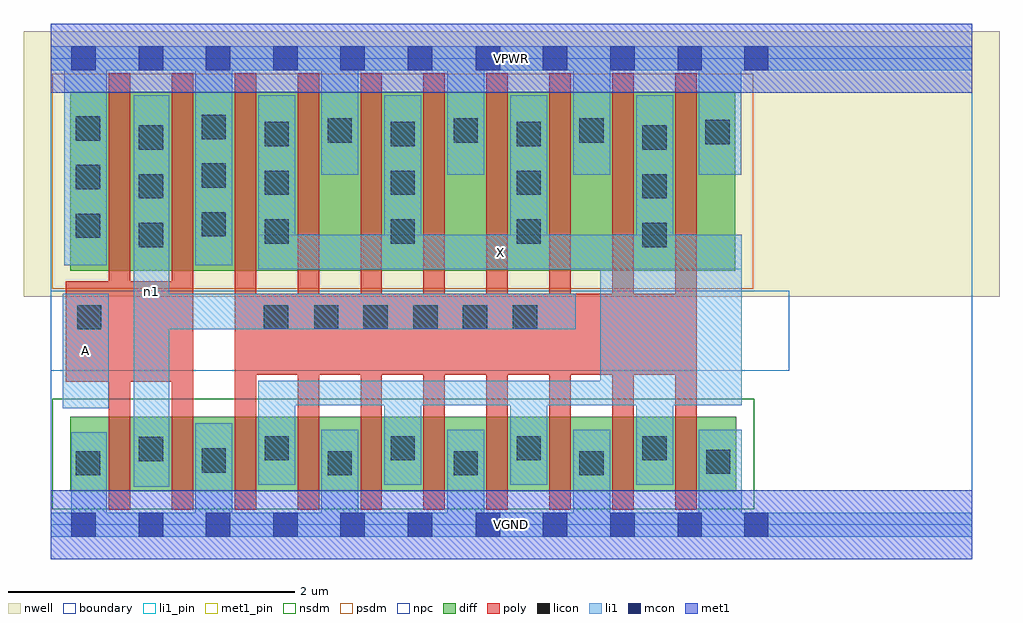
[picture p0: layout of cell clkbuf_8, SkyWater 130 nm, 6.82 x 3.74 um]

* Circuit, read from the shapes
.subckt clkbuf_8 A VGND VPWR X n1
XM1 n1 A VGND VSUBS sky130_fd_pr__nfet_01v8 w=0.52 l=0.15 m=2
XM2 X n1 VGND VSUBS sky130_fd_pr__nfet_01v8 w=0.52 l=0.15 m=8
XM3 n1 A VPWR n2 sky130_fd_pr__pfet_01v8 w=1.25 l=0.15 m=2
XM4 X n1 VPWR n2 sky130_fd_pr__pfet_01v8 w=1.25 l=0.15 m=8
.ends

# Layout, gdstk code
import gdstk
lib = gdstk.Library(unit=1e-6, precision=1e-09)
def R(c, l, rs):  # rectangles x0, y0, x1, y1
    for r in rs: c.add(gdstk.rectangle(r[:2], r[2:], *l))
def A(c, l, x, y, w, h, nx, ny, dx, dy):  # array of equal rectangles
    R(c, l, [(x+i*dx, y+j*dy, x+i*dx+w, y+j*dy+h) for i in range(nx) for j in range(ny)])
nwell = (64, 20)
diff = (65, 20)
poly = (66, 20)
licon = (66, 44)
li1_pin = (67, 16)
li1 = (67, 20)
mcon = (67, 44)
met1_pin = (68, 16)
met1 = (68, 20)
nsdm = (93, 44)
psdm = (94, 20)
npc = (95, 20)
boundary = (235, 4)

clkbuf_8 = lib.new_cell('clkbuf_8')
R(clkbuf_8, nwell, [(-0.19,1.595,6.63,3.45), (0,1.595,6.44,3.45)])
R(clkbuf_8, diff, [(0.135,0.235,4.79,0.755), (0.135,1.775,4.785,3.025)])
A(clkbuf_8, poly, 0.405, 0.105, 0.15, 3.05, 10, 1, 0.44, 0)
R(clkbuf_8, poly, [(0.105,1,0.995,1.7), (1.285,1.05,4.515,1.615)])
A(clkbuf_8, licon, 1.935, 0.345, 0.17, 0.17, 3, 2, 0.88, 2.325)
A(clkbuf_8, licon, 1.495, 0.45, 0.17, 0.17, 4, 1, 0.88, 0)
A(clkbuf_8, licon, 0.615, 1.94, 0.17, 0.17, 1, 3, 0, 0.34)
A(clkbuf_8, licon, 4.135, 1.94, 0.17, 0.17, 1, 3, 0, 0.34)
A(clkbuf_8, licon, 1.495, 1.965, 0.17, 0.17, 3, 3, 0.88, 0.34)
A(clkbuf_8, licon, 0.175, 2.005, 0.17, 0.17, 1, 3, 0, 0.34)
A(clkbuf_8, licon, 1.055, 2.015, 0.17, 0.17, 1, 3, 0, 0.34)
R(clkbuf_8, licon, [(0.175,0.345,0.345,0.515), (4.58,0.355,4.75,0.525), (1.055,0.365,1.225,0.535), (0.615,0.445,0.785,0.615), (0.185,1.365,0.355,1.535), (1.49,1.365,1.66,1.535), (1.84,1.365,2.01,1.535), (2.185,1.365,2.355,1.535), (2.535,1.365,2.705,1.535), (2.88,1.365,3.05,1.535), (3.23,1.365,3.4,1.535), (4.575,2.66,4.745,2.83)])
R(clkbuf_8, li1_pin, [(0.085,0.815,0.405,1.615), (1.45,1.785,4.83,2.025)])
A(clkbuf_8, li1, 1.89, -0.085, 0.26, 0.75, 3, 1, 0.88, 0)
A(clkbuf_8, li1, 1.45, 0.28, 0.26, 0.725, 3, 1, 0.88, 0)
A(clkbuf_8, li1, 1.45, 1.785, 0.26, 1.215, 3, 1, 0.88, 0)
A(clkbuf_8, li1, 1.89, 2.445, 0.26, 0.9, 3, 1, 0.88, 0)
R(clkbuf_8, li1, [(0,-0.085,6.44,0.085), (0.145,-0.085,0.39,0.645), (1.01,-0.085,1.27,0.71), (4.53,-0.085,4.83,0.665), (0.58,0.265,0.83,3), (4.09,0.28,4.35,3), (0.085,0.815,0.405,1.615), (1.45,0.835,4.83,1.005), (3.84,0.835,4.83,2.025), (0.58,1.365,3.67,1.615), (1.45,1.785,4.83,2.025), (0.095,1.815,0.39,3.345), (1.01,1.815,1.27,3.345), (4.53,2.445,4.825,3.345), (0,3.175,6.44,3.345)])
A(clkbuf_8, mcon, 0.145, -0.085, 0.17, 0.17, 6, 2, 0.47, 3.26)
A(clkbuf_8, mcon, 2.97, -0.085, 0.17, 0.17, 4, 2, 0.47, 3.26)
R(clkbuf_8, mcon, [(4.845,-0.085,5.015,0.085), (4.845,3.175,5.015,3.345)])
R(clkbuf_8, met1_pin, [(0,-0.24,6.44,0.24), (0,3.02,6.44,3.5)])
R(clkbuf_8, met1, [(0,-0.24,6.44,0.24), (0,3.02,6.44,3.5)])
R(clkbuf_8, nsdm, [(0.01,0.11,4.915,0.88)])
R(clkbuf_8, psdm, [(0.01,1.65,4.91,3.15)])
R(clkbuf_8, npc, [(0,1.075,5.16,1.635)])
R(clkbuf_8, boundary, [(0,0,6.44,3.26)])
clkbuf_8.add(gdstk.Label('A', (0.245,1.215), layer=67, texttype=5))
clkbuf_8.add(gdstk.Label('X', (3.14,1.905), layer=67, texttype=5))
clkbuf_8.add(gdstk.Label('n1', (0.705,1.632), layer=67, texttype=5))
clkbuf_8.add(gdstk.Label('VPWR', (3.22,3.26), layer=68, texttype=5))
clkbuf_8.add(gdstk.Label('VGND', (3.22,0), layer=68, texttype=5))
clkbuf_8.add(gdstk.Label('A', (0.245,1.215), layer=67, texttype=16))
clkbuf_8.add(gdstk.Label('X', (3.14,1.905), layer=67, texttype=16))
clkbuf_8.add(gdstk.Label('VPWR', (3.22,3.26), layer=68, texttype=16))
clkbuf_8.add(gdstk.Label('VGND', (3.22,0), layer=68, texttype=16))

lib.write_gds('clkbuf_8.gds')
